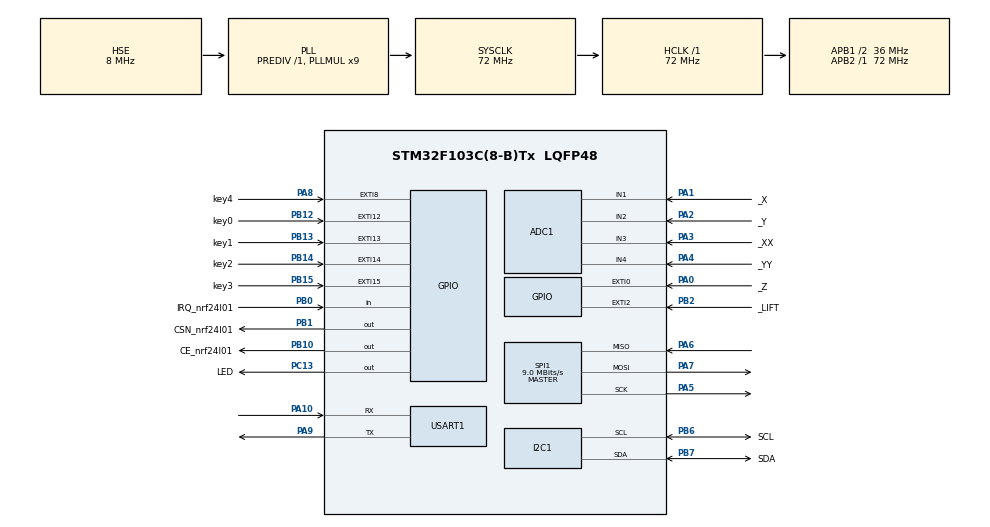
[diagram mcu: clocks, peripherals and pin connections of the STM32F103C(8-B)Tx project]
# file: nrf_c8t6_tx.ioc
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ADC1.Channel-0\#ChannelRegularConversion=ADC_CHANNEL_1
ADC1.Channel-1\#ChannelRegularConversion=ADC_CHANNEL_2
ADC1.Channel-2\#ChannelRegularConversion=ADC_CHANNEL_3
ADC1.Channel-3\#ChannelRegularConversion=ADC_CHANNEL_4
ADC1.ExternalTrigConv=ADC_EXTERNALTRIGCONV_T3_TRGO
ADC1.NbrOfConversion=4
ADC1.NbrOfConversionFlag=1
ADC1.Rank-0\#ChannelRegularConversion=1
ADC1.Rank-1\#ChannelRegularConversion=2
ADC1.Rank-2\#ChannelRegularConversion=3
ADC1.Rank-3\#ChannelRegularConversion=4
ADC1.SamplingTime-0\#ChannelRegularConversion=ADC_SAMPLETIME_28CYCLES_5
ADC1.SamplingTime-1\#ChannelRegularConversion=ADC_SAMPLETIME_28CYCLES_5
ADC1.SamplingTime-2\#ChannelRegularConversion=ADC_SAMPLETIME_28CYCLES_5
ADC1.SamplingTime-3\#ChannelRegularConversion=ADC_SAMPLETIME_28CYCLES_5
ADC1.master=1
Dma.ADC1.0.Direction=DMA_PERIPH_TO_MEMORY
Dma.ADC1.0.Instance=DMA1_Channel1
Dma.ADC1.0.MemDataAlignment=DMA_MDATAALIGN_WORD
Dma.ADC1.0.MemInc=DMA_MINC_ENABLE
Dma.ADC1.0.Mode=DMA_CIRCULAR
Dma.ADC1.0.PeriphDataAlignment=DMA_PDATAALIGN_WORD
Dma.ADC1.0.PeriphInc=DMA_PINC_DISABLE
Dma.ADC1.0.Priority=DMA_PRIORITY_LOW
Dma.Request0=ADC1
I2C1.I2C_Mode=I2C_Fast
Mcu.Family=STM32F1
Mcu.Name=STM32F103C(8-B)Tx
Mcu.Package=LQFP48
NVIC.DMA1_Channel1_IRQn=true\:0\:0\:false\:false\:true\:false\:true\:true
NVIC.EXTI0_IRQn=true\:1\:0\:true\:false\:true\:true\:true\:true
NVIC.EXTI15_10_IRQn=true\:1\:0\:true\:false\:true\:true\:true\:true
NVIC.EXTI2_IRQn=true\:0\:0\:false\:false\:true\:true\:true\:true
NVIC.EXTI9_5_IRQn=true\:1\:0\:true\:false\:true\:true\:true\:true
NVIC.PriorityGroup=NVIC_PRIORITYGROUP_4
NVIC.TIM1_UP_IRQn=true\:1\:0\:true\:false\:true\:true\:true\:true
NVIC.TIM2_IRQn=true\:1\:0\:true\:false\:true\:true\:true\:true
NVIC.USART1_IRQn=true\:0\:0\:true\:false\:true\:true\:true\:true
PA0-WKUP.GPIO_Label=_Z
PA0-WKUP.GPIO_ModeDefaultEXTI=GPIO_MODE_IT_FALLING
PA0-WKUP.GPIO_PuPd=GPIO_PULLUP
PA0-WKUP.Signal=GPXTI0
PA1.GPIO_Label=_X
PA1.Signal=ADCx_IN1
PA10.Mode=Asynchronous
PA10.Signal=USART1_RX
PA13.Mode=Serial_Wire
PA13.Signal=SYS_JTMS-SWDIO
PA14.Mode=Serial_Wire
PA14.Signal=SYS_JTCK-SWCLK
PA2.GPIO_Label=_Y
PA2.Signal=ADCx_IN2
PA3.GPIO_Label=_XX
PA3.Signal=ADCx_IN3
PA4.GPIO_Label=_YY
PA4.Signal=ADCx_IN4
PA5.Mode=Full_Duplex_Master
PA5.Signal=SPI1_SCK
PA6.Mode=Full_Duplex_Master
PA6.Signal=SPI1_MISO
PA7.Mode=Full_Duplex_Master
PA7.Signal=SPI1_MOSI
PA8.GPIO_Label=key4
PA8.GPIO_ModeDefaultEXTI=GPIO_MODE_IT_FALLING
PA8.GPIO_PuPd=GPIO_PULLUP
PA8.Signal=GPXTI8
PA9.Mode=Asynchronous
PA9.Signal=USART1_TX
PB0.GPIO_Label=IRQ_nrf24l01
PB0.GPIO_Mode=GPIO_MODE_INPUT
PB0.GPIO_PuPd=GPIO_PULLUP
PB0.Signal=GPIO_Input
PB1.GPIO_Label=CSN_nrf24l01
PB1.GPIO_ModeDefaultOutputPP=GPIO_MODE_OUTPUT_PP
PB1.GPIO_Speed=GPIO_SPEED_FREQ_HIGH
PB1.PinState=GPIO_PIN_SET
PB1.Signal=GPIO_Output
PB10.GPIO_Label=CE_nrf24l01
PB10.GPIO_Speed=GPIO_SPEED_FREQ_HIGH
PB10.PinState=GPIO_PIN_SET
PB10.Signal=GPIO_Output
PB12.GPIO_Label=key0
PB12.GPIO_ModeDefaultEXTI=GPIO_MODE_IT_FALLING
PB12.GPIO_PuPd=GPIO_PULLUP
PB12.Signal=GPXTI12
PB13.GPIO_Label=key1
PB13.GPIO_ModeDefaultEXTI=GPIO_MODE_IT_FALLING
PB13.GPIO_PuPd=GPIO_PULLUP
PB13.Signal=GPXTI13
PB14.GPIO_Label=key2
PB14.GPIO_ModeDefaultEXTI=GPIO_MODE_IT_FALLING
PB14.GPIO_PuPd=GPIO_PULLUP
PB14.Signal=GPXTI14
PB15.GPIO_Label=key3
PB15.GPIO_ModeDefaultEXTI=GPIO_MODE_IT_FALLING
PB15.GPIO_PuPd=GPIO_PULLUP
PB15.Signal=GPXTI15
PB2.GPIO_Label=_LIFT
PB2.GPIO_ModeDefaultEXTI=GPIO_MODE_IT_FALLING
PB2.GPIO_PuPd=GPIO_PULLUP
PB2.Signal=GPXTI2
PB6.GPIO_Label=SCL
PB6.Mode=I2C
PB6.Signal=I2C1_SCL
PB7.GPIO_Label=SDA
PB7.Mode=I2C
PB7.Signal=I2C1_SDA
PC13-TAMPER-RTC.GPIO_Label=LED
PC13-TAMPER-RTC.GPIO_PuPd=GPIO_PULLUP
PC13-TAMPER-RTC.GPIO_Speed=GPIO_SPEED_FREQ_HIGH
PC13-TAMPER-RTC.PinState=GPIO_PIN_SET
PC13-TAMPER-RTC.Signal=GPIO_Output
PD0-OSC_IN.Mode=HSE-External-Oscillator
PD0-OSC_IN.Signal=RCC_OSC_IN
PD1-OSC_OUT.Mode=HSE-External-Oscillator
PD1-OSC_OUT.Signal=RCC_OSC_OUT
ProjectManager.HeapSize=0x200
ProjectManager.StackSize=0x400
ProjectManager.TargetToolchain=MDK-ARM V5.32
RCC.ADCPresc=RCC_ADCPCLK2_DIV6
RCC.AHBFreq_Value=72000000
RCC.APB1CLKDivider=RCC_HCLK_DIV2
RCC.APB1Freq_Value=36000000
RCC.APB1TimFreq_Value=72000000
RCC.APB2Freq_Value=72000000
RCC.APB2TimFreq_Value=72000000
RCC.HCLKFreq_Value=72000000
RCC.PLLMUL=RCC_PLL_MUL9
RCC.PLLSourceVirtual=RCC_PLLSOURCE_HSE
RCC.SYSCLKFreq_VALUE=72000000
RCC.SYSCLKSource=RCC_SYSCLKSOURCE_PLLCLK
RCC.USBFreq_Value=72000000
SH.ADCx_IN1.0=ADC1_IN1,IN1
SH.ADCx_IN2.0=ADC1_IN2,IN2
SH.ADCx_IN3.0=ADC1_IN3,IN3
SH.ADCx_IN4.0=ADC1_IN4,IN4
SPI1.BaudRatePrescaler=SPI_BAUDRATEPRESCALER_8
SPI1.CalculateBaudRate=9.0 MBits/s
SPI1.Direction=SPI_DIRECTION_2LINES
SPI1.Mode=SPI_MODE_MASTER
SPI1.VirtualType=VM_MASTER
TIM1.AutoReloadPreload=TIM_AUTORELOAD_PRELOAD_ENABLE
TIM1.Period=1000-1
TIM1.Prescaler=7200-1
TIM2.AutoReloadPreload=TIM_AUTORELOAD_PRELOAD_ENABLE
TIM2.Period=3000-1
TIM2.Prescaler=7200-1
TIM3.AutoReloadPreload=TIM_AUTORELOAD_PRELOAD_ENABLE
TIM3.Period=100-1
TIM3.Prescaler=720-1
TIM3.TIM_MasterOutputTrigger=TIM_TRGO_UPDATE
USART1.VirtualMode=VM_ASYNC
VP_TIM1_VS_ClockSourceINT.Mode=Internal
VP_TIM2_VS_ClockSourceINT.Mode=Internal
VP_TIM3_VS_ClockSourceINT.Mode=Internal
board=custom

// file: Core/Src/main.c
/* USER CODE BEGIN Header */
/**
  ******************************************************************************
  * @file           : main.c
  * @brief          : Main program body
  ******************************************************************************
  * @attention
  *
  * Copyright (c) 2023 STMicroelectronics.
  * All rights reserved.
  *
  * This software is licensed under terms that can be found in the LICENSE file
  * in the root directory of this software component.
  * If no LICENSE file comes with this software, it is provided AS-IS.
  *
  ******************************************************************************
  */
/* USER CODE END Header */
#include "main.h"
#include "adc.h"
#include "dma.h"
#include "i2c.h"
#include "spi.h"
#include "tim.h"
#include "usart.h"
#include "gpio.h"

/* USER CODE BEGIN Includes */
#include "NRF24L01.h"
#include "stdio.h"
#include "OLED.h"
/* USER CODE END Includes */

/* USER CODE BEGIN PD */
typedef enum
{
	SYMBOL    = 0,
	MODE      = 1,
	OPTION    = 2,
	DATA_L_X = 3,
	DATA_L_Y = 4,
	DATA_R_X = 5,
	DATA_R_Y = 6,
	JAW      = 7,
	LIFT     = 8,
	signal_array_Space = 32
}signal_TypeDef;

extern unsigned char gImage_windbreaker[390];
/* USER CODE END PD */

/* USER CODE BEGIN PV */
unsigned char flag_nrf24l01 = 0;
unsigned char tmp_buf[32] = {0};
unsigned char temp;
unsigned char differences=0;
unsigned int i = 0;

uint32_t signal[20];
uint16_t data_z=0;
unsigned char data_x1_average=0;
unsigned char data_y1_average=0;
unsigned char data_x2_average=0;
unsigned char data_y2_average=0;
int mode=2,mode0,mode1,mode2,mode3,mode4;
int	option=2,option0,option1,option2,option3,option4,option5,option6,option7,option8,option9,option10;
int gate=0,jaw=0,lift=0;

/* USER CODE END PV */

void SystemClock_Config(void);

int main(void)
{

  /* MCU Configuration--------------------------------------------------------*/

  /* Reset of all peripherals, Initializes the Flash interface and the Systick. */
  HAL_Init();

  /* Configure the system clock */
  SystemClock_Config();

  /* Initialize all configured peripherals */
  MX_GPIO_Init();
  MX_DMA_Init();
  MX_SPI1_Init();
  MX_ADC1_Init();
  MX_TIM3_Init();
  MX_USART1_UART_Init();
  MX_I2C1_Init();
  MX_TIM1_Init();
  MX_TIM2_Init();
  /* USER CODE BEGIN 2 */
	NRF24L01_Init();
	OLED_init();
	OLED_display_on();
	OLED_refresh_gram();
	OLED_operate_gram(PEN_CLEAR);
	OLED_show_string(1, 13, "WIND");
	OLED_show_string(3, 13, "BREAKERS");
	OLED_refresh_gram();
	OLED_DrawBMP(0, 0,63, 7,gImage_windbreaker);//破风的logo
	HAL_Delay(2000);

//  temp = 4;
  while(NRF24L01_Check()){
	OLED_show_string(2, 1, "NRF_TEST_FAIL");
	OLED_refresh_gram();
	 HAL_Delay(500);
	}//检测nrf24l01

	OLED_operate_gram(PEN_CLEAR);
	OLED_show_string(3, 1, "NRF_TEST_succeeded");
	HAL_Delay(1000);
	OLED_refresh_gram();
	TX_Mode();
	MX_ADC1_Init();
	HAL_TIM_Base_Start(&htim3);
	HAL_TIM_Base_Start_IT(&htim2);
	OLED_operate_gram(PEN_CLEAR);
	HAL_ADC_Stop_DMA(&hadc1);
  /* USER CODE END 2 */

  /* Infinite loop */
  while (1)
  {

    /* USER CODE BEGIN 3 */

	if(gate){OLED_show_string(0, 1, "R");}
	else    {OLED_show_string(0, 1, "F");}

	if(tmp_buf[JAW]){OLED_show_string(0, 14, "I");}
	else    {OLED_show_string(0, 18, "V");}

	OLED_show_string(2,1, ">");
	OLED_show_string(2,8, "---->");
	OLED_printf(0, 9,"m=%d",mode);
	OLED_printf(1, 9,"o=%d",option);
	OLED_printf(3, 9,"x=%d",tmp_buf[DATA_L_X]);
	OLED_printf(4, 9,"y=%d",tmp_buf[DATA_L_Y]);

	if(mode>2){mode=2;}
	if(mode<0){mode=0;}

	mode0=mode;
	OLED_show_string(mode0,3, "MOVI");

	mode1=mode+1;
	OLED_show_string(mode1,3, "ADJU");
	mode2=mode+2;
	OLED_show_string(mode2,3, "MANI");
//---------------------------菜单的显示

	if(mode==2){   	            //---------------------moving
		if(option>2){option=2;}
		if(option<0){option=0;}
		option0=option;
		OLED_show_string(option0,14, "Fas");//o=2
		option1=option+1;
		OLED_show_string(option1,14, "MID");//o=1
		option2=option+2;
		OLED_show_string(option2,14, "SLO");//o=0
	}
	else if(mode==1){
		if(option>2){option=2;}
		if(option<0){option=0;}
		option0=option;
		OLED_show_string(option0,14, "RGH");//o=2
		option1=option+1;
		OLED_show_string(option1,14, "MID");//o=1
		option2=option+2;
		OLED_show_string(option2,14, "TIY");//o=0
	}
	else if(mode==0){

	  if(option<=2){option+=10;}
	  if(option>=11){option-=10;}

	  option1=option;
	  if(option1>4){option1-=10;}
	  OLED_show_string(option1,14, "prot");//2

	  option2=option+1;
	  if(option2>4){option2-=10;}
	  OLED_show_string(option2,14, "up");//1

	  option3=option+2;
	  if(option3>4){option3-=10;}
	  OLED_show_string(option3,14, "plac");//10

	  option4=option+3;
	  if(option4>4){option4-=10;}
	  OLED_show_string(option4,14, "down");//9

	  option5=option+4;
	  if(option5>4){option5-=10;}
	  OLED_show_string(option5,14, "plac");//8

	  option6=option+5;
	  if(option6>4){option6-=10;}
	  OLED_show_string(option6,14, "free");/7

		option7=option+6;
	  if(option7>4){option7-=10;}
	  OLED_show_string(option7,14, "mid");//6

	  option8=option+7;
	  if(option8>4){option8-=10;}
	  OLED_show_string(option8,14, "plac");//5

	  option9=option+8;
	  if(option9>4){option9-=10;}
	  OLED_show_string(option9,14, "tou");//4

	  option10=option+9;
	  if(option10>4){option10-=10;}
	  OLED_show_string(option10,14, "plac");//3

	}

  }
  /* USER CODE END 3 */
}

void SystemClock_Config(void)
{
  RCC_OscInitTypeDef RCC_OscInitStruct = {0};
  RCC_ClkInitTypeDef RCC_ClkInitStruct = {0};
  RCC_PeriphCLKInitTypeDef PeriphClkInit = {0};

  /** Initializes the RCC Oscillators according to the specified parameters
  * in the RCC_OscInitTypeDef structure.
  */
  RCC_OscInitStruct.OscillatorType = RCC_OSCILLATORTYPE_HSE;
  RCC_OscInitStruct.HSEState = RCC_HSE_ON;
  RCC_OscInitStruct.HSEPredivValue = RCC_HSE_PREDIV_DIV1;
  RCC_OscInitStruct.HSIState = RCC_HSI_ON;
  RCC_OscInitStruct.PLL.PLLState = RCC_PLL_ON;
  RCC_OscInitStruct.PLL.PLLSource = RCC_PLLSOURCE_HSE;
  RCC_OscInitStruct.PLL.PLLMUL = RCC_PLL_MUL9;
  if (HAL_RCC_OscConfig(&RCC_OscInitStruct) != HAL_OK)
  {
    Error_Handler();
  }

  /** Initializes the CPU, AHB and APB buses clocks
  */
  RCC_ClkInitStruct.ClockType = RCC_CLOCKTYPE_HCLK|RCC_CLOCKTYPE_SYSCLK
                              |RCC_CLOCKTYPE_PCLK1|RCC_CLOCKTYPE_PCLK2;
  RCC_ClkInitStruct.SYSCLKSource = RCC_SYSCLKSOURCE_PLLCLK;
  RCC_ClkInitStruct.AHBCLKDivider = RCC_SYSCLK_DIV1;
  RCC_ClkInitStruct.APB1CLKDivider = RCC_HCLK_DIV2;
  RCC_ClkInitStruct.APB2CLKDivider = RCC_HCLK_DIV1;

  if (HAL_RCC_ClockConfig(&RCC_ClkInitStruct, FLASH_LATENCY_2) != HAL_OK)
  {
    Error_Handler();
  }
  PeriphClkInit.PeriphClockSelection = RCC_PERIPHCLK_ADC;
  PeriphClkInit.AdcClockSelection = RCC_ADCPCLK2_DIV6;
  if (HAL_RCCEx_PeriphCLKConfig(&PeriphClkInit) != HAL_OK)
  {
    Error_Handler();
  }
}

/* USER CODE BEGIN 4 */
void HAL_TIM_PeriodElapsedCallback(TIM_HandleTypeDef *htim){

	if (htim == (&htim2)){

		OLED_refresh_gram();
		OLED_operate_gram(PEN_CLEAR);
		i++;

	}
}

void HAL_GPIO_EXTI_Callback(uint16_t GPIO_Pin){

	if(GPIO_Pin == key1_Pin){
		if(HAL_GPIO_ReadPin(key1_GPIO_Port,key1_Pin)==GPIO_PIN_RESET){//使用薄弱的if来防抖
			mode--;//遥控菜单的选择
			option=2;
			HAL_ADC_Stop_DMA(&hadc1);
			gate=0;}
		}
	if(GPIO_Pin == key3_Pin){
		if(HAL_GPIO_ReadPin(key3_GPIO_Port,key3_Pin)==GPIO_PIN_RESET){
			mode++;
		    option=2;
			HAL_ADC_Stop_DMA(&hadc1);
		    gate=0;}
		}
	if(GPIO_Pin == key0_Pin){
		if(HAL_GPIO_ReadPin(key0_GPIO_Port,key0_Pin)==GPIO_PIN_RESET){
			option--;
			HAL_ADC_Stop_DMA(&hadc1);
			gate=0;}
		}
	if(GPIO_Pin == key4_Pin){
		if(HAL_GPIO_ReadPin(key4_GPIO_Port,key4_Pin)==GPIO_PIN_RESET){
			option++;
			HAL_ADC_Stop_DMA(&hadc1);
			gate=0;}
		}
	if(GPIO_Pin == key2_Pin){
		if(HAL_GPIO_ReadPin(key2_GPIO_Port,key2_Pin)==GPIO_PIN_RESET){
			if(gate){
				gate=0;
				HAL_ADC_Stop_DMA(&hadc1);
			}
			else{
				gate=1;
				HAL_ADC_Start_DMA(&hadc1 ,signal ,20);
			}
		}
	}
	if(GPIO_Pin == _Z_Pin){
		if(HAL_GPIO_ReadPin(_Z_GPIO_Port,_Z_Pin)==GPIO_PIN_RESET){
			if(jaw==0){tmp_buf[JAW]=0;jaw=1;}
			else     {tmp_buf[JAW]=1;jaw=0;}

		}
	}
	if(GPIO_Pin == _LIFT_Pin){
		if(HAL_GPIO_ReadPin(_LIFT_GPIO_Port,_LIFT_Pin) == GPIO_PIN_RESET ){
			if(lift==0){tmp_buf[LIFT]=0;lift=1;}
			else       {tmp_buf[LIFT]=1;lift=0;}
		}
	}
}

void HAL_ADC_ConvCpltCallback(ADC_HandleTypeDef* hadc){

	HAL_ADC_Stop_DMA(&hadc1);

	for(unsigned char i=0;i<20;i+=4){
	data_y1_average+=(signal[i  ]&0xfff)/80;
	data_x1_average+=(signal[i+1]&0xfff)/80;
	data_x2_average+=(signal[i+2]&0xfff)/80;
	data_y2_average+=(signal[i+3]&0xfff)/80;

	}

	data_x1_average = data_x1_average/5;
	data_y1_average = data_y1_average/5;
	data_x2_average = data_x2_average/5;
	data_y2_average = data_y2_average/5;//均值滤波

//	printf("\n \r x1:%d -- y1:%d  ",data_x1_average	,data_y1_average);

	if(differences<5){differences++;}
	else {differences=0;}
	tmp_buf[SYMBOL]   = differences    ;//异化
	tmp_buf[MODE]     = mode           ;
	tmp_buf[OPTION]   = option         ;
	tmp_buf[JAW]    =    jaw         ;
	tmp_buf[DATA_L_X]= data_x1_average;
	tmp_buf[DATA_L_Y]= data_y1_average;
	tmp_buf[DATA_R_X]= data_x2_average;
	tmp_buf[DATA_R_Y]= data_y2_average;
	NRF24L01_TxPacket(tmp_buf);

	data_x1_average=0;
	data_y1_average=0;
	data_x2_average=0;
	data_y2_average=0;

	HAL_ADC_Start_DMA(&hadc1 ,signal ,20);
}
/* USER CODE END 4 */

void Error_Handler(void)
{
  __disable_irq();
  while (1)
  {
  }
}
